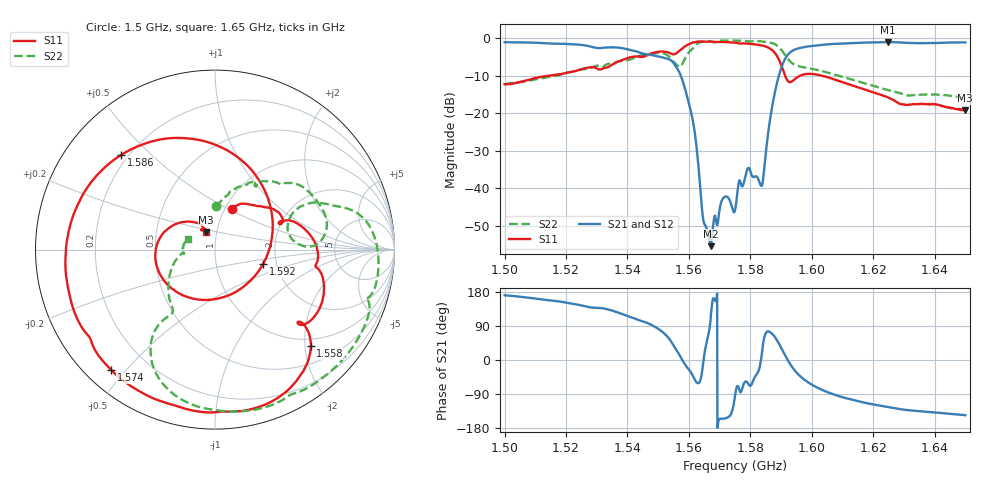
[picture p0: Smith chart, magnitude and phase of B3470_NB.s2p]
! Matrix data file written by TouchstoneData, EPCOS AG
! FILENAME: "newformat_LZ68A_4_NB.s2p"
! COMMENT: "(LZ68A_4_NB.s2p) EPCOS AG 21.09.2011 16:07:1"
! INFO: nport=2, nfreq=1601
! DATE: "Fri Sep 23 09:06:06 2011"
! USER: "Daniel Harbusch"
! port | pin | signal
!  1  |  1  |  IN
!  2  |  4  |  OUT
# MHZ S MA R 50
! freq  magS11 angS11  magS21 angS21  magS12 angS12  magS22 angS22
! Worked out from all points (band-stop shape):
!   1601 points, 1.5 GHz to 1.65 GHz, reference 50 ohm
!   highest |S21| = -0.99 dB at 1.625 GHz (marker M1); lowest = -55.4 dB at 1.567 GHz (marker M2)
!   |S21| within 3 dB of the highest: start of sweep to 1.545 GHz; 1.593 GHz to end of sweep
!   lowest |S11| = -19.2 dB at 1.65 GHz (marker M3), VSWR 1.25, Z = 44.5 + j8.85 ohm
!   |S11| at or under -10 dB: start of sweep to 1.514 GHz; 1.591351 GHz to 1.595997 GHz (4.645 MHz wide, 0.291 % of centre); 1.604 GHz to end of sweep
!   |S22| runs from -16.0 to -0.5 dB; largest |S21 - S12| = 0.0014
!   S11 on the Smith chart (normalised r, x): 1.5 GHz: 1.07, +0.52; 1.558 GHz: 0.85, -2.13; 1.574 GHz: 0.07, -0.46; 1.586 GHz: 0.17, +0.41; 1.592 GHz: 1.70, -0.30; 1.65 GHz: 0.89, +0.18
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1500  0.2457 68.0  0.8907 170.8  0.8904 170.8  0.2431 88.7
1525.031  0.3898 36.2  0.8205 143.9  0.8203 144.0  0.3836 66.9
1550.062  0.6638 -26.1  0.5739 82.0  0.5737 82.0  0.6429 18.2
1554.562  0.6177 -41.7  0.4936 44.1  0.4933 44.1  0.5123 1.7
1558.219  0.7568 -45.1  0.2506 -5.3  0.2505 -5.2  0.4896 25.6
1561.688  0.8899 -64.7  0.06402 -48.2  0.06405 -48.2  0.77 17.3
1564.781  0.9091 -83.1  0.003639 0.5  0.003636 0.5  0.9103 -2.3
1567.125  0.9073 -95.1  0.001698 115.7  0.001737 115.8  0.9129 -14.4
1571.156  0.8959 -115.5  0.007444 -155.0  0.007437 -155.2  0.9374 -28.9
1573.969  0.8858 -130.7  0.005747 -137.0  0.005773 -136.9  0.9388 -40.3
1575  0.879 -136.5  0.005122 -93.8  0.005094 -93.5  0.9374 -44.4
1579.219  0.8509 -161.1  0.01863 -61.4  0.01866 -61.4  0.9141 -61.2
1583.625  0.8089 164.3  0.01081 9.4  0.01081 9.4  0.9136 -80.3
1586.156  0.7426 134.7  0.07089 74.8  0.07092 74.8  0.8853 -93.9
1588.781  0.5733 87.1  0.2663 50.6  0.2662 50.7  0.7982 -111.7
1591.969  0.2793 -16.8  0.5889 2.6  0.589 2.6  0.5516 -126.7
1594.5  0.2873 -102.4  0.712 -28.1  0.712 -28.1  0.445 -124.5
1600.031  0.3363 -170.2  0.7945 -65.2  0.7943 -65.2  0.3943 -128.0
1624.688  0.1645 120.5  0.8924 -124.2  0.8922 -124.2  0.205 -169.2
1625.062  0.1612 120.0  0.892 -124.8  0.892 -124.8  0.2035 -169.5
1649.906  0.1096 116.4  0.8846 -145.7  0.8849 -145.7  0.1588 159.1
1650  0.1102 116.8  0.8849 -145.7  0.8855 -145.7  0.1584 158.8
